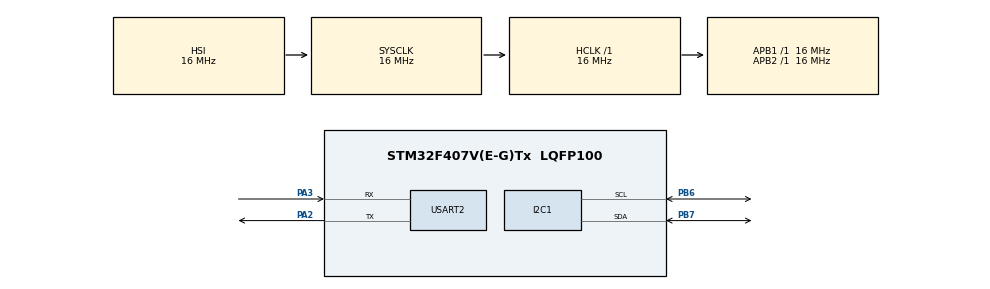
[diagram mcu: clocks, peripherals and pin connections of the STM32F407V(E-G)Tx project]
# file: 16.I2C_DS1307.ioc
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Mcu.Family=STM32F4
Mcu.Name=STM32F407V(E-G)Tx
Mcu.Package=LQFP100
NVIC.I2C1_ER_IRQn=true\:0\:0\:false\:false\:true\:true\:true\:true
NVIC.I2C1_EV_IRQn=true\:0\:0\:false\:false\:true\:true\:true\:true
NVIC.PriorityGroup=NVIC_PRIORITYGROUP_4
NVIC.USART2_IRQn=true\:0\:0\:false\:false\:true\:true\:true\:true
PA13.Mode=Serial_Wire
PA13.Signal=SYS_JTMS-SWDIO
PA14.Mode=Serial_Wire
PA14.Signal=SYS_JTCK-SWCLK
PA2.Mode=Asynchronous
PA2.Signal=USART2_TX
PA3.Mode=Asynchronous
PA3.Signal=USART2_RX
PB6.Mode=I2C
PB6.Signal=I2C1_SCL
PB7.Mode=I2C
PB7.Signal=I2C1_SDA
ProjectManager.HeapSize=0x200
ProjectManager.StackSize=0x400
ProjectManager.TargetToolchain=STM32CubeIDE
RCC.AHBFreq_Value=16000000
RCC.APB1Freq_Value=16000000
RCC.APB2Freq_Value=16000000
RCC.CortexFreq_Value=16000000
RCC.HSE_VALUE=25000000
RCC.HSI_VALUE=16000000
RCC.LSE_VALUE=32768
RCC.SYSCLKFreq_VALUE=16000000
RCC.VCOOutputFreq_Value=192000000
USART2.VirtualMode=VM_ASYNC
board=custom

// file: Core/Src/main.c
/* USER CODE BEGIN Header */
/**
  ******************************************************************************
  * @file           : main.c
  * @brief          : Main program body
  ******************************************************************************
  * @attention
  *
  * Copyright (c) 2023 STMicroelectronics.
  * All rights reserved.
  *
  * This software is licensed under terms that can be found in the LICENSE file
  * in the root directory of this software component.
  * If no LICENSE file comes with this software, it is provided AS-IS.
  *
  ******************************************************************************
  */
/* USER CODE END Header */
#include "main.h"
#include <stdio.h>

/* USER CODE BEGIN PD */
     #define DS1307_ADRESS (0x68<<1)
     #define DS1307_REG_TIME (0x00)

typedef struct {
	uint8_t sec;
	uint8_t minute;
	uint8_t hour;
	uint8_t day;
	uint8_t date;
	uint8_t month;
	uint8_t year;

	uint8_t I2C_Buffer[8];
}DS1307_t;
DS1307_t DS1307;
/* USER CODE END PD */

I2C_HandleTypeDef hi2c1;

UART_HandleTypeDef huart2;

void SystemClock_Config(void);
static void MX_GPIO_Init(void);
static void MX_I2C1_Init(void);
static void MX_USART2_UART_Init(void);
/* USER CODE BEGIN PFP */
uint8_t RTC_BCD2DEC(uint8_t c);
uint8_t RTC_DEC2BCD(uint8_t c);
 void I2C_WriteBuffer(I2C_HandleTypeDef hi2c1, uint8_t DEV_ADDR, uint8_t sizebuf);
 void I2C_ReadBuffer(I2C_HandleTypeDef hi2c1, uint8_t DEV_ADDR, uint8_t sizebuf);
 void RTC_GetTime(void);
 void RTC_SetTime(uint8_t hour, uint8_t minute, uint8_t sec, uint8_t date, uint8_t month, uint8_t year, int day);
/* USER CODE END PFP */

/* USER CODE BEGIN 0 */
 uint8_t RTC_BCD2DEC(uint8_t data) {
	 return (data >> 4)*10 + ( data&0x0f);
 }

 uint8_t RTC_DEC2BCD(uint8_t data) {
	 return (data/10)<<4|(data%10);
 }

 void I2C_WriteBuffer(I2C_HandleTypeDef hi2c1, uint8_t DEV_ADDR, uint8_t sizebuf) {
 	 while(HAL_I2C_Master_Transmit(&hi2c1, (uint16_t)DEV_ADDR, (uint8_t*) &DS1307.I2C_Buffer, (uint16_t)sizebuf, (uint32_t)1000)) {
 		 if(HAL_I2C_GetError(&hi2c1) != HAL_I2C_ERROR_AF) {
 			 printf("Write Buffer Error\r\n");
 		 }
 	 }
  }

 void I2C_ReadBuffer(I2C_HandleTypeDef hi2c1, uint8_t DEV_ADDR, uint8_t sizebuf) {
	 while(HAL_I2C_Master_Receive(&hi2c1, (uint16_t)DEV_ADDR, (uint8_t*)&DS1307.I2C_Buffer, (uint16_t)sizebuf, (uint32_t)1000)) {
	 		 if(HAL_I2C_GetError(&hi2c1) != HAL_I2C_ERROR_AF) {
	 			 printf("Read Buffer Error\r\n");
	 		 }
	 	 }
 }

 void RTC_GetTime(void) {
	 	 DS1307.I2C_Buffer[0] = 0x00;
	 	 I2C_WriteBuffer(hi2c1, (uint16_t)DS1307_ADRESS, 1);
	 	 while(HAL_I2C_GetState(&hi2c1) != HAL_I2C_STATE_READY) {

	 	 }
		 I2C_ReadBuffer(hi2c1, (uint16_t)DS1307_ADRESS, 8);

		 DS1307.day = RTC_BCD2DEC(DS1307.I2C_Buffer[3]);
		 DS1307.date = RTC_BCD2DEC(DS1307.I2C_Buffer[4]);
		 DS1307.month = RTC_BCD2DEC(DS1307.I2C_Buffer[5]);
		 DS1307.year = RTC_BCD2DEC(DS1307.I2C_Buffer[6]);

		 DS1307.sec = RTC_BCD2DEC(DS1307.I2C_Buffer[0]);
		 DS1307.minute = RTC_BCD2DEC(DS1307.I2C_Buffer[1]);
		 DS1307.hour = RTC_BCD2DEC(DS1307.I2C_Buffer[2]);

 }

 void RTC_SetTime(uint8_t hour, uint8_t minute, uint8_t sec, uint8_t date, uint8_t month, uint8_t year, int day) {
	 DS1307.I2C_Buffer[0] = 0x00;
	 DS1307.I2C_Buffer[1] = RTC_DEC2BCD(sec);
	 DS1307.I2C_Buffer[2] = RTC_DEC2BCD(minute);
	 DS1307.I2C_Buffer[3] = RTC_DEC2BCD(hour);
	 DS1307.I2C_Buffer[4] = RTC_DEC2BCD(day);
	 DS1307.I2C_Buffer[5] = RTC_DEC2BCD(date);
	 DS1307.I2C_Buffer[6] = RTC_DEC2BCD(month);
	 DS1307.I2C_Buffer[7] = RTC_DEC2BCD(year);
	 I2C_WriteBuffer(hi2c1, (uint16_t)DS1307_ADRESS, 8);
	 HAL_Delay(500);
 }
/* USER CODE END 0 */

int main(void)
{

  /* MCU Configuration--------------------------------------------------------*/

  /* Reset of all peripherals, Initializes the Flash interface and the Systick. */
  HAL_Init();

  /* Configure the system clock */
  SystemClock_Config();

  /* Initialize all configured peripherals */
  MX_GPIO_Init();
  MX_I2C1_Init();
  MX_USART2_UART_Init();
  /* USER CODE BEGIN 2 */
RTC_SetTime(11, 30, 20, 19, 10, 23, 5);
  /* USER CODE END 2 */

  /* Infinite loop */
  while (1)
  {
RTC_GetTime();
printf("Thu %d-%02d-%02d-20%02d\n",DS1307.day, DS1307.date, DS1307.month, DS1307.year);
printf("%02d:%02d:%02d\r\n", DS1307.hour, DS1307.minute, DS1307.sec);
HAL_Delay(1000);
  }
}

void SystemClock_Config(void)
{
  RCC_OscInitTypeDef RCC_OscInitStruct = {0};
  RCC_ClkInitTypeDef RCC_ClkInitStruct = {0};

  /** Configure the main internal regulator output voltage
  */
  __HAL_RCC_PWR_CLK_ENABLE();
  __HAL_PWR_VOLTAGESCALING_CONFIG(PWR_REGULATOR_VOLTAGE_SCALE1);

  /** Initializes the RCC Oscillators according to the specified parameters
  * in the RCC_OscInitTypeDef structure.
  */
  RCC_OscInitStruct.OscillatorType = RCC_OSCILLATORTYPE_HSI;
  RCC_OscInitStruct.HSIState = RCC_HSI_ON;
  RCC_OscInitStruct.HSICalibrationValue = RCC_HSICALIBRATION_DEFAULT;
  RCC_OscInitStruct.PLL.PLLState = RCC_PLL_NONE;
  if (HAL_RCC_OscConfig(&RCC_OscInitStruct) != HAL_OK)
  {
    Error_Handler();
  }

  /** Initializes the CPU, AHB and APB buses clocks
  */
  RCC_ClkInitStruct.ClockType = RCC_CLOCKTYPE_HCLK|RCC_CLOCKTYPE_SYSCLK
                              |RCC_CLOCKTYPE_PCLK1|RCC_CLOCKTYPE_PCLK2;
  RCC_ClkInitStruct.SYSCLKSource = RCC_SYSCLKSOURCE_HSI;
  RCC_ClkInitStruct.AHBCLKDivider = RCC_SYSCLK_DIV1;
  RCC_ClkInitStruct.APB1CLKDivider = RCC_HCLK_DIV1;
  RCC_ClkInitStruct.APB2CLKDivider = RCC_HCLK_DIV1;

  if (HAL_RCC_ClockConfig(&RCC_ClkInitStruct, FLASH_LATENCY_0) != HAL_OK)
  {
    Error_Handler();
  }
}

static void MX_I2C1_Init(void)
{

  hi2c1.Instance = I2C1;
  hi2c1.Init.ClockSpeed = 100000;
  hi2c1.Init.DutyCycle = I2C_DUTYCYCLE_2;
  hi2c1.Init.OwnAddress1 = 0;
  hi2c1.Init.AddressingMode = I2C_ADDRESSINGMODE_7BIT;
  hi2c1.Init.DualAddressMode = I2C_DUALADDRESS_DISABLE;
  hi2c1.Init.OwnAddress2 = 0;
  hi2c1.Init.GeneralCallMode = I2C_GENERALCALL_DISABLE;
  hi2c1.Init.NoStretchMode = I2C_NOSTRETCH_DISABLE;
  if (HAL_I2C_Init(&hi2c1) != HAL_OK)
  {
    Error_Handler();
  }

}

static void MX_USART2_UART_Init(void)
{

  huart2.Instance = USART2;
  huart2.Init.BaudRate = 115200;
  huart2.Init.WordLength = UART_WORDLENGTH_8B;
  huart2.Init.StopBits = UART_STOPBITS_1;
  huart2.Init.Parity = UART_PARITY_NONE;
  huart2.Init.Mode = UART_MODE_TX_RX;
  huart2.Init.HwFlowCtl = UART_HWCONTROL_NONE;
  huart2.Init.OverSampling = UART_OVERSAMPLING_16;
  if (HAL_UART_Init(&huart2) != HAL_OK)
  {
    Error_Handler();
  }

}

static void MX_GPIO_Init(void)
{

  /* GPIO Ports Clock Enable */
  __HAL_RCC_GPIOA_CLK_ENABLE();
  __HAL_RCC_GPIOB_CLK_ENABLE();

}

/* USER CODE BEGIN 4 */
#ifdef __GNUC__
/* With GCC/RAISONANCE, small printf (option LD Linker->Libraries->Small printf
   set to 'Yes') calls __io_putchar() */
#define PUTCHAR_PROTOTYPE int __io_putchar(int ch)
#else
#define PUTCHAR_PROTOTYPE int fputc(int ch, FILE *f)
#endif /* __GNUC__ */

PUTCHAR_PROTOTYPE
{
  HAL_UART_Transmit(&huart2, (uint8_t *)&ch, 1, HAL_MAX_DELAY); // bạn có thể điều chỉnh Timeout tùy thuộc vào yêu cầu của bạn
  return ch;
}

void Error_Handler(void)
{
  __disable_irq();
  while (1)
  {
  }
}
